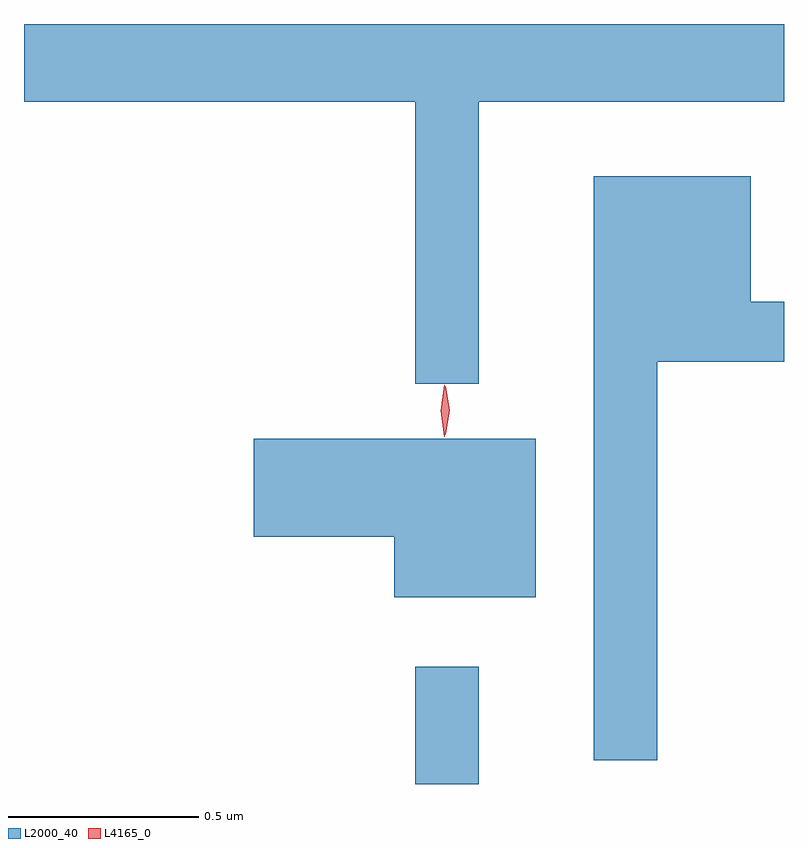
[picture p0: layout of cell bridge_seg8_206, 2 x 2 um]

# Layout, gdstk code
import gdstk
lib = gdstk.Library(unit=1e-6, precision=1e-09)
def R(c, l, rs):  # rectangles x0, y0, x1, y1
    for r in rs: c.add(gdstk.rectangle(r[:2], r[2:], *l))
def P(c, l, *ps):  # polygons
    for p in ps: c.add(gdstk.Polygon(p, *l))
L2000_40 = (2000, 40)
L4165_0 = (4165, 0)

bridge_seg8_206 = lib.new_cell('bridge_seg8_206')
R(bridge_seg8_206, L2000_40, [(1163.291,1903.44,1163.459,1903.748)])
P(bridge_seg8_206, L2000_40, [(1163.459,1905.236),(1164.262,1905.236),(1164.262,1905.44),(1162.262,1905.44),(1162.262,1905.236),(1163.291,1905.236),(1163.291,1904.493),(1163.459,1904.493)],
  [(1163.929,1904.551),(1164.262,1904.551),(1164.262,1904.709),(1164.174,1904.709),(1164.174,1905.039),(1163.761,1905.039),(1163.761,1903.503),(1163.929,1903.503)],
  [(1163.609,1904.349),(1162.866,1904.349),(1162.866,1904.091),(1163.236,1904.091),(1163.236,1903.931),(1163.609,1903.931)])
P(bridge_seg8_206, L4165_0, [(1163.371,1904.36),(1163.362,1904.424),(1163.371,1904.486),(1163.372,1904.487),(1163.372,1904.486),(1163.382,1904.424),(1163.372,1904.36),(1163.372,1904.36)],
  [(1163.368,1904.354),(1163.359,1904.422),(1163.368,1904.49),(1163.369,1904.49),(1163.369,1904.49),(1163.379,1904.422),(1163.369,1904.354),(1163.369,1904.354)])

lib.write_gds('bridge_seg8_206.gds')
